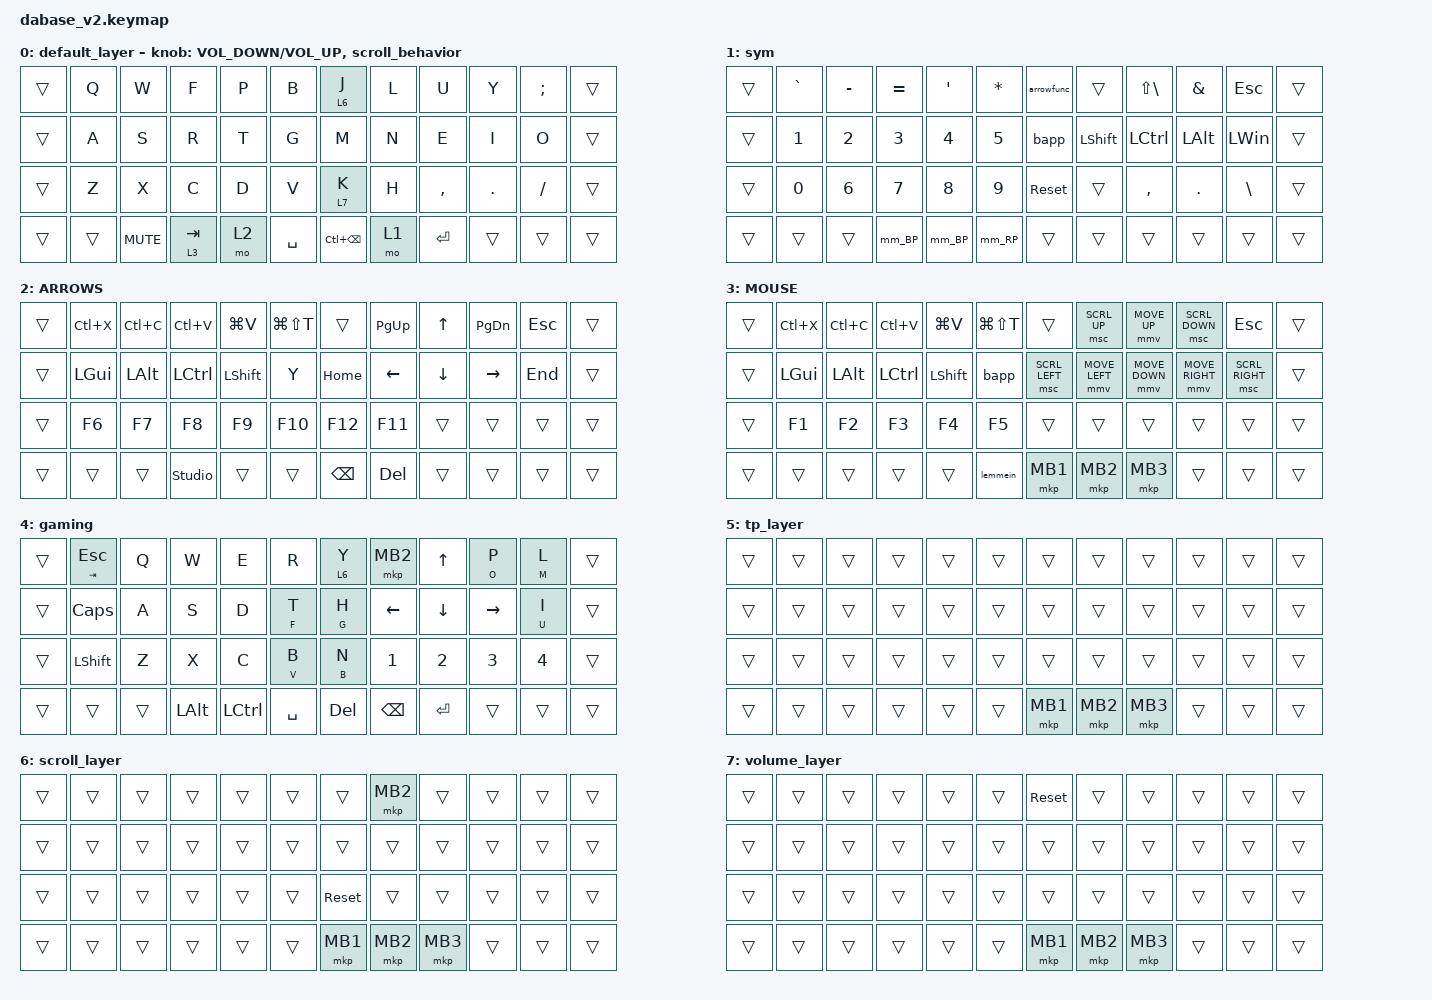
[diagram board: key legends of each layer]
#include <behaviors.dtsi>
#include <dt-bindings/zmk/bt.h>
#include <dt-bindings/zmk/keys.h>
#include <dt-bindings/zmk/pointing.h>
#include <behaviors/battery_percentage_printer.dtsi>

/ {
    behaviors {
        scroll_behavior: scroll_behavior {
            compatible = "zmk,behavior-sensor-rotate";
            label = "SCROLL_BEHAVIOR";
            #sensor-binding-cells = <0>;
            bindings = <&msc SCRL_DOWN>, <&msc SCRL_UP>;

            tap-ms = <1>;
        };

        //  Ctrl + [ → (

        mm_BP: mod_morph_ctrl_brack_to_paren {
            compatible = "zmk,behavior-mod-morph";
            #binding-cells = <0>;
            bindings = <&kp LBKT>, <&kp LPAR>;

            // normal = [, with Ctrl = (

            mods = <(MOD_LCTL|MOD_RCTL)>;
        };

        // Ctrl + ] → )

        mm_RP: mod_morph_ctrl_rbrack_to_paren {
            compatible = "zmk,behavior-mod-morph";
            #binding-cells = <0>;
            bindings = <&kp RBKT>, <&kp RPAR>;

            // normal = ], with Ctrl = )

            mods = <(MOD_LCTL|MOD_RCTL)>;
        };
    };

    combos {
        compatible = "zmk,combos";

        gaming {
            bindings = <&tog 4>;
            key-positions = <41 42>;
        };

        hamza {
            bindings = <&kp X>;
            key-positions = <13 22>;
        };

        hophopclick {
            bindings = <&kp LG(LA(C))>;
            key-positions = <27 26>;
        };

        resetBT {
            bindings = <&bt BT_CLR_ALL>;
            key-positions = <1 5>;
        };

        clearBT {
            bindings = <&bt BT_CLR>;
            key-positions = <6 10>;
        };

        esc {
            bindings = <&kp ESCAPE>;
            key-positions = <10 43>;
        };

        hophopclick2 {
            bindings = <&kp LG(LA(C))>;
            key-positions = <32 33>;
        };
    };

    macros {
        arrowfunc: new_macro {
            compatible = "zmk,behavior-macro";
            #binding-cells = <0>;
            bindings = <&kp LPAR &kp RPAR &kp EQUAL &kp GT &kp LEFT_BRACE>;
            label = "NEW_MACRO";
        };

        lemmein: lemmein {
            compatible = "zmk,behavior-macro";
            #binding-cells = <0>;
            bindings = <&kp L &kp D &kp HASH &kp H &kp E &kp L &kp L &kp O &kp W &kp O &kp R &kp L &kp D &kp AT_SIGN &kp N2 &kp N9 &kp ENTER>;
            label = "LEMMEIN";
        };

        switch_to_arabic: switch_to_arabic {
            compatible = "zmk,behavior-macro";
            #binding-cells = <0>;
            bindings = <&kp LG(SPACE) &sl 1>;
            label = "SWITCH_TO_ARABIC";
        };
    };

    keymap {
        compatible = "zmk,keymap";
        label = "dabase_v2-unified";

        default_layer {
            bindings = <
&trans  &kp Q  &kp W       &kp F      &kp P  &kp B      /**/    &lt 6 J             &kp L  &kp U      &kp Y        &kp SEMI  &trans
&trans  &kp A  &kp S       &kp R      &kp T  &kp G      /**/    &kp M               &kp N  &kp E      &kp I        &kp O     &trans
&trans  &kp Z  &kp X       &kp C      &kp D  &kp V      /**/    &lt 7 K             &kp H  &kp COMMA  &kp PERIOD   &kp SLASH &trans
&trans  &trans &kp C_MUTE  &lt 3 TAB  &mo 2  &kp SPACE  /**/    &kp LC(BACKSPACE)   &mo 1  &kp ENTER  &trans       &trans    &trans
            >;

            sensor-bindings =
                <&inc_dec_kp C_VOLUME_DOWN C_VOLUME_UP>,
                <&scroll_behavior>;
        };

        symbol {
            label = "sym";
            bindings = <
&trans  &kp GRAVE &kp MINUS &kp EQUAL &kp APOS &kp ASTRK   /**/   &arrowfunc  &trans          &kp LS(BACKSLASH)   &kp AMPS        &kp ESC       &trans
&trans  &kp N1    &kp N2    &kp N3    &kp N4   &kp N5      /**/   &bapp       &kp LEFT_SHIFT  &kp LCTRL           &kp LEFT_ALT    &kp LEFT_WIN  &trans
&trans  &kp N0    &kp N6    &kp N7    &kp N8   &kp N9      /**/   &sys_reset  &trans          &kp COMMA           &kp DOT         &kp BACKSLASH &trans
&trans  &trans    &trans    &mm_BP    &mm_BP   &mm_RP      /**/   &trans      &trans          &trans              &trans          &trans        &trans
            >;
        };

        ARROWS {
            bindings = <
&trans &kp LC(X)    &kp LC(C)    &kp LC(V)      &kp LG(V)      &kp LG(LS(T))    /**/    &trans      &kp PG_UP   &kp UP      &kp PG_DN   &kp ESC &trans
&trans &kp LEFT_GUI &kp LEFT_ALT &kp LCTRL      &kp LEFT_SHIFT &kp Y            /**/    &kp HOME    &kp LEFT    &kp DOWN    &kp RIGHT   &kp END &trans
&trans &kp F6       &kp F7       &kp F8         &kp F9         &kp F10          /**/    &kp F12     &kp F11     &trans      &trans      &trans  &trans
&trans &trans       &trans       &studio_unlock &trans         &trans           /**/    &kp BSPC    &kp DELETE  &trans      &trans      &trans  &trans
            >;
        };

        MOUSE {
            bindings = <
&trans  &kp LC(X)      &kp LC(C)      &kp LC(V)       &kp LG(V)       &kp LG(LS(T))   /**/   &trans          &msc SCRL_UP    &mmv MOVE_UP    &msc SCRL_DOWN  &kp ESCAPE      &trans
&trans  &kp LEFT_GUI   &kp LEFT_ALT   &kp LCTRL       &kp LEFT_SHIFT  &bapp           /**/   &msc SCRL_LEFT  &mmv MOVE_LEFT  &mmv MOVE_DOWN  &mmv MOVE_RIGHT &msc SCRL_RIGHT &trans
&trans  &kp F1         &kp F2         &kp F3          &kp F4          &kp F5          /**/   &trans          &trans          &trans          &trans          &trans          &trans
&trans  &trans         &trans         &trans          &trans          &lemmein        /**/   &mkp MB1        &mkp MB2        &mkp MB3        &trans          &trans          &trans
            >;
        };

        gaming {
            bindings = <
&trans  &mt TAB ESCAPE &kp Q   &kp W        &kp E     &kp R      /**/  &lt 6 Y  &mkp MB2      &kp UP    &mt O P   &mt M L  &trans
&trans  &kp CAPS       &kp A   &kp S        &kp D     &mt F T    /**/  &mt G H  &kp LEFT      &kp DOWN  &kp RIGHT &mt U I  &trans
&trans  &kp LEFT_SHIFT &kp Z   &kp X        &kp C     &mt V B    /**/  &mt B N  &kp N1        &kp N2    &kp N3    &kp N4   &trans
&trans  &trans         &trans  &kp LEFT_ALT &kp LCTRL &kp SPACE  /**/  &kp DEL  &kp BACKSPACE &kp ENTER &trans    &trans   &trans
            >;
        };

        // Exp72: layer-toggle layer — auto-actives on TP touch (temp_layer
        // input processor on the right-half central listener). All
        // transparent except mouse buttons on the right thumb cluster
        // (mirrors origin/main).
        tp_layer {
            bindings = <
&trans &trans &trans &trans &trans &trans /**/ &trans   &trans   &trans   &trans &trans &trans
&trans &trans &trans &trans &trans &trans /**/ &trans   &trans   &trans   &trans &trans &trans
&trans &trans &trans &trans &trans &trans /**/ &trans   &trans   &trans   &trans &trans &trans
&trans &trans &trans &trans &trans &trans /**/ &mkp MB1 &mkp MB2 &mkp MB3 &trans &trans &trans
            >;
        };

        // Exp73: hold J -> scroll_layer (6). Transparent except MB1/2/3 on
        // the right thumb cluster so click-while-scrolling still works
        // (mirrors Exp32/Exp51). The actual scroll mapping lives on the
        // right-half central listener's scroll_override (input processors,
        // not keys).
        scroll_layer {
            bindings = <
&trans &trans &trans &trans &trans &trans /**/ &trans       &mkp MB2   &trans   &trans &trans &trans
&trans &trans &trans &trans &trans &trans /**/ &trans       &trans     &trans   &trans &trans &trans
&trans &trans &trans &trans &trans &trans /**/ &sys_reset   &trans     &trans   &trans &trans &trans
&trans &trans &trans &trans &trans &trans /**/ &mkp MB1     &mkp MB2   &mkp MB3 &trans &trans &trans
            >;
        };

        // Exp73: hold K -> volume_layer (7). Trackpoint tilt becomes volume
        // (te9no keybind processor on the right-half central listener).
        // Transparent except thumb MB1/2/3 (mirrors scroll_layer).
        volume_layer {
            bindings = <
&trans &trans &trans &trans &trans &trans /**/ &sys_reset   &trans   &trans   &trans &trans &trans
&trans &trans &trans &trans &trans &trans /**/ &trans       &trans   &trans   &trans &trans &trans
&trans &trans &trans &trans &trans &trans /**/ &trans       &trans   &trans   &trans &trans &trans
&trans &trans &trans &trans &trans &trans /**/ &mkp MB1     &mkp MB2 &mkp MB3 &trans &trans &trans
            >;
        };
    };
};
